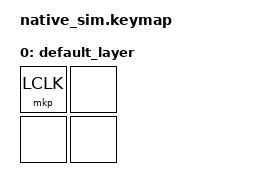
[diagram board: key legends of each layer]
#include <behaviors.dtsi>
#include <dt-bindings/zmk/kscan_mock.h>
#include <dt-bindings/zmk/pointing.h>

/ {
    keymap {
        compatible = "zmk,keymap";

        default_layer {
            bindings = <
                &mkp LCLK &none
                &none     &none
            >;
        };
    };
};

&mkp_input_listener {
    input-processors = <&esb_relay_pointer>;
};

&kscan {
    /delete-property/ exit-after;
    events = <
        ZMK_MOCK_PRESS(0,0,100)
        ZMK_MOCK_RELEASE(0,0,10)
    >;
};
